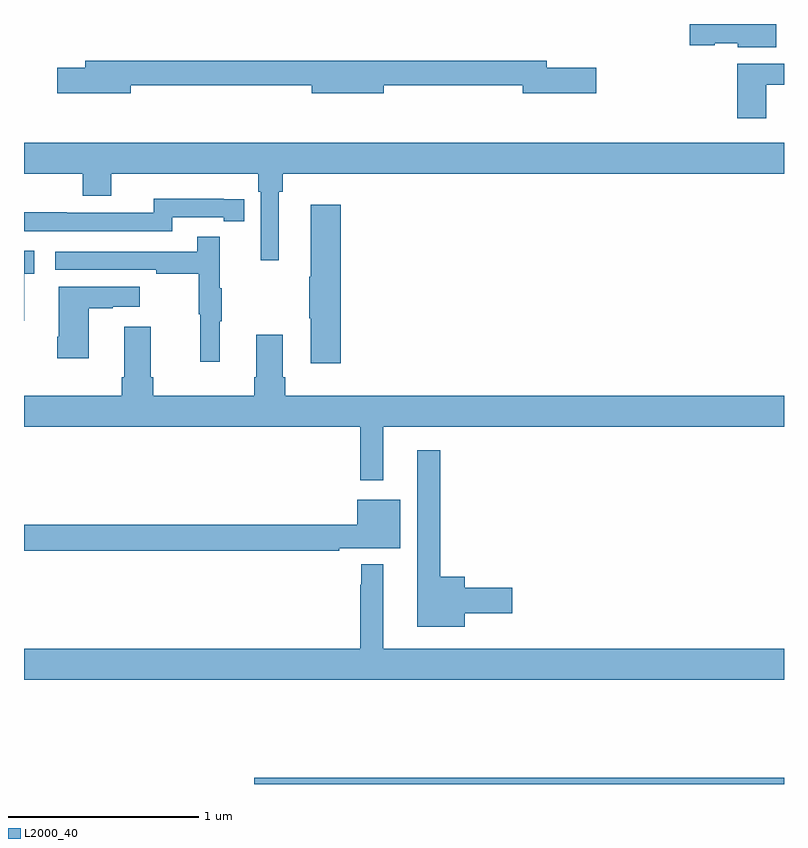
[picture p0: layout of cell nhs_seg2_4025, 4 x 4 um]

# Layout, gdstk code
import gdstk
lib = gdstk.Library(unit=1e-6, precision=1e-09)
def R(c, l, rs):  # rectangles x0, y0, x1, y1
    for r in rs: c.add(gdstk.rectangle(r[:2], r[2:], *l))
def P(c, l, *ps):  # polygons
    for p in ps: c.add(gdstk.Polygon(p, *l))
L2000_40 = (2000, 40)

nhs_seg2_4025 = lib.new_cell('nhs_seg2_4025')
R(nhs_seg2_4025, L2000_40, [(328.211,601.8,331,601.832)])
P(nhs_seg2_4025, L2000_40, [(330.958,605.8),(330.504,605.8),(330.504,605.687),(330.636,605.687),(330.636,605.699),(330.756,605.699),(330.756,605.678),(330.958,605.678)],
  [(327.562,605.478),(328.514,605.478),(328.514,605.435),(328.894,605.435),(328.894,605.478),(329.624,605.478),(329.624,605.435),(330.013,605.435),(330.013,605.57),(329.752,605.57),(329.752,605.606),(327.323,605.606),(327.323,605.57),(327.174,605.57),(327.174,605.435),(327.562,605.435)],
  [(330.907,605.481),(331,605.481),(331,605.59),(330.755,605.59),(330.755,605.304),(330.907,605.304)],
  [(328.342,604.916),(328.361,604.916),(328.361,605.012),(331,605.012),(331,605.176),(327,605.176),(327,605.012),(327.308,605.012),(327.308,604.895),(327.46,604.895),(327.46,605.012),(328.232,605.012),(328.232,604.916),(328.245,604.916),(328.245,604.557),(328.342,604.557)],
  [(327.78,604.782),(328.052,604.782),(328.052,604.762),(328.16,604.762),(328.16,604.878),(328.052,604.878),(328.052,604.879),(327.684,604.879),(327.684,604.806),(327.224,604.806),(327.224,604.808),(327,604.808),(327,604.71),(327.78,604.71)],
  [(328.667,604.849),(328.508,604.849),(328.508,604.469),(328.501,604.469),(328.501,604.252),(328.508,604.252),(328.508,604.014),(328.667,604.014)],
  [(328.031,604.235),(328.042,604.235),(328.042,604.409),(328.031,604.409),(328.031,604.681),(327.913,604.681),(327.913,604.602),(327.165,604.602),(327.165,604.506),(327.697,604.506),(327.697,604.486),(327.921,604.486),(327.921,604.272),(327.928,604.272),(327.928,604.023),(328.031,604.023)],
  [(327.002,604.485),(327.055,604.485),(327.055,604.606),(327,604.606),(327,604.239),(327.002,604.239)],
  [(327.34,604.303),(327.467,604.303),(327.467,604.313),(327.61,604.313),(327.61,604.417),(327.182,604.417),(327.182,604.153),(327.175,604.153),(327.175,604.041),(327.34,604.041)],
  [(328.891,603.68),(331,603.68),(331,603.844),(328.376,603.844),(328.376,603.94),(328.363,603.94),(328.363,604.165),(328.223,604.165),(328.223,603.94),(328.211,603.94),(328.211,603.844),(327.68,603.844),(327.68,603.94),(327.667,603.94),(327.667,604.207),(327.527,604.207),(327.527,603.94),(327.515,603.94),(327.515,603.844),(327,603.844),(327,603.68),(328.77,603.68),(328.77,603.399),(328.891,603.399)],
  [(329.32,602.699),(329.569,602.699),(329.569,602.834),(329.32,602.834),(329.32,602.89),(329.191,602.89),(329.191,603.556),(329.069,603.556),(329.069,602.627),(329.32,602.627)],
  [(328.658,603.041),(328.981,603.041),(328.981,603.295),(328.754,603.295),(328.754,603.164),(327,603.164),(327,603.028),(328.658,603.028)],
  [(331,602.512),(328.891,602.512),(328.891,602.956),(328.776,602.956),(328.776,602.849),(328.77,602.849),(328.77,602.512),(327,602.512),(327,602.348),(331,602.348)])

lib.write_gds('nhs_seg2_4025.gds')
